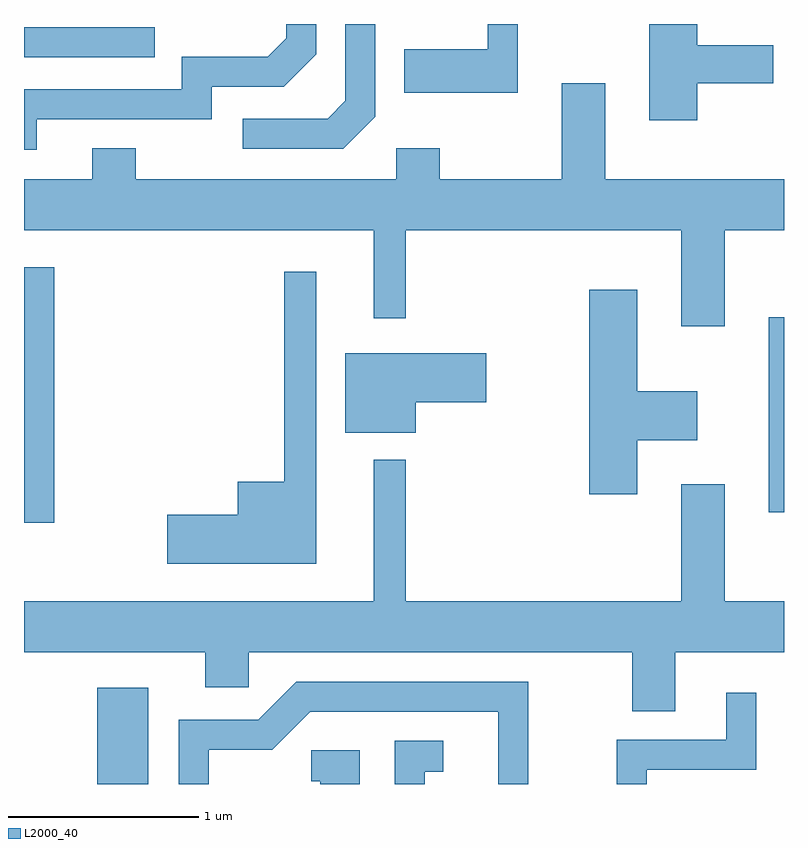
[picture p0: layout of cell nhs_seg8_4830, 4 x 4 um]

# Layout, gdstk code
import gdstk
lib = gdstk.Library(unit=1e-6, precision=1e-09)
def R(c, l, rs):  # rectangles x0, y0, x1, y1
    for r in rs: c.add(gdstk.rectangle(r[:2], r[2:], *l))
def P(c, l, *ps):  # polygons
    for p in ps: c.add(gdstk.Polygon(p, *l))
L2000_40 = (2000, 40)

nhs_seg8_4830 = lib.new_cell('nhs_seg8_4830')
R(nhs_seg8_4830, L2000_40, [(329.996,1882.342,330.264,1882.849), (329.611,1883.718,329.769,1885.063), (333.531,1883.771,333.611,1884.799), (329.611,1886.166,330.298,1886.324)])
P(nhs_seg8_4830, L2000_40, [(332.209,1886.342),(332.051,1886.342),(332.051,1886.209),(331.611,1886.209),(331.611,1885.981),(332.209,1885.981)],
  [(331.459,1885.854),(331.459,1886.342),(331.301,1886.342),(331.301,1885.937),(331.209,1885.844),(330.763,1885.844),(330.763,1885.686),(331.292,1885.686)],
  [(333.154,1886.031),(333.554,1886.031),(333.554,1886.229),(333.154,1886.229),(333.154,1886.342),(332.901,1886.342),(332.901,1885.836),(333.154,1885.836)],
  [(329.679,1885.841),(330.599,1885.841),(330.599,1886.011),(330.977,1886.011),(331.149,1886.184),(331.149,1886.342),(330.991,1886.342),(330.991,1886.267),(330.894,1886.169),(330.441,1886.169),(330.441,1885.999),(329.611,1885.999),(329.611,1885.681),(329.679,1885.681)],
  [(331.571,1885.524),(330.199,1885.524),(330.199,1885.689),(329.971,1885.689),(329.971,1885.524),(329.611,1885.524),(329.611,1885.256),(331.451,1885.256),(331.451,1884.793),(331.619,1884.793),(331.619,1885.256),(333.071,1885.256),(333.071,1884.751),(333.299,1884.751),(333.299,1885.256),(333.611,1885.256),(333.611,1885.524),(332.669,1885.524),(332.669,1886.029),(332.441,1886.029),(332.441,1885.524),(331.799,1885.524),(331.799,1885.689),(331.571,1885.689)],
  [(331.149,1885.038),(330.981,1885.038),(330.981,1883.934),(330.736,1883.934),(330.736,1883.759),(330.366,1883.759),(330.366,1883.501),(331.149,1883.501)],
  [(332.839,1884.151),(333.154,1884.151),(333.154,1884.409),(332.839,1884.409),(332.839,1884.944),(332.586,1884.944),(332.586,1883.866),(332.839,1883.866)],
  [(331.674,1884.351),(332.044,1884.351),(332.044,1884.609),(331.301,1884.609),(331.301,1884.191),(331.674,1884.191)],
  [(331.619,1884.048),(331.451,1884.048),(331.451,1883.304),(329.611,1883.304),(329.611,1883.036),(330.566,1883.036),(330.566,1882.851),(330.794,1882.851),(330.794,1883.036),(332.811,1883.036),(332.811,1882.726),(333.039,1882.726),(333.039,1883.036),(333.611,1883.036),(333.611,1883.304),(333.299,1883.304),(333.299,1883.919),(333.071,1883.919),(333.071,1883.304),(331.619,1883.304)],
  [(330.584,1882.521),(330.917,1882.521),(331.117,1882.721),(332.106,1882.721),(332.106,1882.342),(332.264,1882.342),(332.264,1882.879),(331.044,1882.879),(330.844,1882.679),(330.426,1882.679),(330.426,1882.342),(330.584,1882.342)],
  [(332.889,1882.416),(333.464,1882.416),(333.464,1882.823),(333.306,1882.823),(333.306,1882.574),(332.731,1882.574),(332.731,1882.342),(332.889,1882.342)],
  [(331.719,1882.406),(331.818,1882.406),(331.818,1882.569),(331.561,1882.569),(331.561,1882.342),(331.719,1882.342)],
  [(331.379,1882.519),(331.123,1882.519),(331.123,1882.356),(331.171,1882.356),(331.171,1882.342),(331.379,1882.342)])

lib.write_gds('nhs_seg8_4830.gds')
